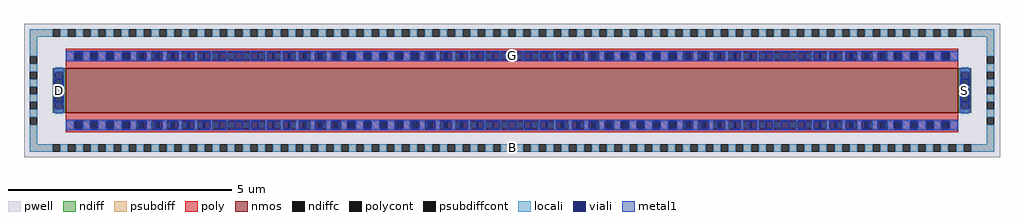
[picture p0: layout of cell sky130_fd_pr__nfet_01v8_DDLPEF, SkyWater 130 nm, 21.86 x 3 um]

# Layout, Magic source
magic
tech sky130A
magscale 1 2
<< pwell >>
rect -2186 -300 2186 300
<< nmos >>
rect -2000 -100 2000 100
<< ndiff >>
rect -2058 85 -2000 100
rect -2058 51 -2046 85
rect -2012 51 -2000 85
rect -2058 17 -2000 51
rect -2058 -17 -2046 17
rect -2012 -17 -2000 17
rect -2058 -51 -2000 -17
rect -2058 -85 -2046 -51
rect -2012 -85 -2000 -51
rect -2058 -100 -2000 -85
rect 2000 85 2058 100
rect 2000 51 2012 85
rect 2046 51 2058 85
rect 2000 17 2058 51
rect 2000 -17 2012 17
rect 2046 -17 2058 17
rect 2000 -51 2058 -17
rect 2000 -85 2012 -51
rect 2046 -85 2058 -51
rect 2000 -100 2058 -85
<< ndiffc >>
rect -2046 51 -2012 85
rect -2046 -17 -2012 17
rect -2046 -85 -2012 -51
rect 2012 51 2046 85
rect 2012 -17 2046 17
rect 2012 -85 2046 -51
<< psubdiff >>
rect -2160 240 -2057 274
rect -2023 240 -1989 274
rect -1955 240 -1921 274
rect -1887 240 -1853 274
rect -1819 240 -1785 274
rect -1751 240 -1717 274
rect -1683 240 -1649 274
rect -1615 240 -1581 274
rect -1547 240 -1513 274
rect -1479 240 -1445 274
rect -1411 240 -1377 274
rect -1343 240 -1309 274
rect -1275 240 -1241 274
rect -1207 240 -1173 274
rect -1139 240 -1105 274
rect -1071 240 -1037 274
rect -1003 240 -969 274
rect -935 240 -901 274
rect -867 240 -833 274
rect -799 240 -765 274
rect -731 240 -697 274
rect -663 240 -629 274
rect -595 240 -561 274
rect -527 240 -493 274
rect -459 240 -425 274
rect -391 240 -357 274
rect -323 240 -289 274
rect -255 240 -221 274
rect -187 240 -153 274
rect -119 240 -85 274
rect -51 240 -17 274
rect 17 240 51 274
rect 85 240 119 274
rect 153 240 187 274
rect 221 240 255 274
rect 289 240 323 274
rect 357 240 391 274
rect 425 240 459 274
rect 493 240 527 274
rect 561 240 595 274
rect 629 240 663 274
rect 697 240 731 274
rect 765 240 799 274
rect 833 240 867 274
rect 901 240 935 274
rect 969 240 1003 274
rect 1037 240 1071 274
rect 1105 240 1139 274
rect 1173 240 1207 274
rect 1241 240 1275 274
rect 1309 240 1343 274
rect 1377 240 1411 274
rect 1445 240 1479 274
rect 1513 240 1547 274
rect 1581 240 1615 274
rect 1649 240 1683 274
rect 1717 240 1751 274
rect 1785 240 1819 274
rect 1853 240 1887 274
rect 1921 240 1955 274
rect 1989 240 2023 274
rect 2057 240 2160 274
rect -2160 153 -2126 240
rect -2160 85 -2126 119
rect 2126 153 2160 240
rect -2160 17 -2126 51
rect -2160 -51 -2126 -17
rect -2160 -119 -2126 -85
rect 2126 85 2160 119
rect 2126 17 2160 51
rect 2126 -51 2160 -17
rect -2160 -240 -2126 -153
rect 2126 -119 2160 -85
rect 2126 -240 2160 -153
rect -2160 -274 -2057 -240
rect -2023 -274 -1989 -240
rect -1955 -274 -1921 -240
rect -1887 -274 -1853 -240
rect -1819 -274 -1785 -240
rect -1751 -274 -1717 -240
rect -1683 -274 -1649 -240
rect -1615 -274 -1581 -240
rect -1547 -274 -1513 -240
rect -1479 -274 -1445 -240
rect -1411 -274 -1377 -240
rect -1343 -274 -1309 -240
rect -1275 -274 -1241 -240
rect -1207 -274 -1173 -240
rect -1139 -274 -1105 -240
rect -1071 -274 -1037 -240
rect -1003 -274 -969 -240
rect -935 -274 -901 -240
rect -867 -274 -833 -240
rect -799 -274 -765 -240
rect -731 -274 -697 -240
rect -663 -274 -629 -240
rect -595 -274 -561 -240
rect -527 -274 -493 -240
rect -459 -274 -425 -240
rect -391 -274 -357 -240
rect -323 -274 -289 -240
rect -255 -274 -221 -240
rect -187 -274 -153 -240
rect -119 -274 -85 -240
rect -51 -274 -17 -240
rect 17 -274 51 -240
rect 85 -274 119 -240
rect 153 -274 187 -240
rect 221 -274 255 -240
rect 289 -274 323 -240
rect 357 -274 391 -240
rect 425 -274 459 -240
rect 493 -274 527 -240
rect 561 -274 595 -240
rect 629 -274 663 -240
rect 697 -274 731 -240
rect 765 -274 799 -240
rect 833 -274 867 -240
rect 901 -274 935 -240
rect 969 -274 1003 -240
rect 1037 -274 1071 -240
rect 1105 -274 1139 -240
rect 1173 -274 1207 -240
rect 1241 -274 1275 -240
rect 1309 -274 1343 -240
rect 1377 -274 1411 -240
rect 1445 -274 1479 -240
rect 1513 -274 1547 -240
rect 1581 -274 1615 -240
rect 1649 -274 1683 -240
rect 1717 -274 1751 -240
rect 1785 -274 1819 -240
rect 1853 -274 1887 -240
rect 1921 -274 1955 -240
rect 1989 -274 2023 -240
rect 2057 -274 2160 -240
<< psubdiffcont >>
rect -2057 240 -2023 274
rect -1989 240 -1955 274
rect -1921 240 -1887 274
rect -1853 240 -1819 274
rect -1785 240 -1751 274
rect -1717 240 -1683 274
rect -1649 240 -1615 274
rect -1581 240 -1547 274
rect -1513 240 -1479 274
rect -1445 240 -1411 274
rect -1377 240 -1343 274
rect -1309 240 -1275 274
rect -1241 240 -1207 274
rect -1173 240 -1139 274
rect -1105 240 -1071 274
rect -1037 240 -1003 274
rect -969 240 -935 274
rect -901 240 -867 274
rect -833 240 -799 274
rect -765 240 -731 274
rect -697 240 -663 274
rect -629 240 -595 274
rect -561 240 -527 274
rect -493 240 -459 274
rect -425 240 -391 274
rect -357 240 -323 274
rect -289 240 -255 274
rect -221 240 -187 274
rect -153 240 -119 274
rect -85 240 -51 274
rect -17 240 17 274
rect 51 240 85 274
rect 119 240 153 274
rect 187 240 221 274
rect 255 240 289 274
rect 323 240 357 274
rect 391 240 425 274
rect 459 240 493 274
rect 527 240 561 274
rect 595 240 629 274
rect 663 240 697 274
rect 731 240 765 274
rect 799 240 833 274
rect 867 240 901 274
rect 935 240 969 274
rect 1003 240 1037 274
rect 1071 240 1105 274
rect 1139 240 1173 274
rect 1207 240 1241 274
rect 1275 240 1309 274
rect 1343 240 1377 274
rect 1411 240 1445 274
rect 1479 240 1513 274
rect 1547 240 1581 274
rect 1615 240 1649 274
rect 1683 240 1717 274
rect 1751 240 1785 274
rect 1819 240 1853 274
rect 1887 240 1921 274
rect 1955 240 1989 274
rect 2023 240 2057 274
rect -2160 119 -2126 153
rect 2126 119 2160 153
rect -2160 51 -2126 85
rect -2160 -17 -2126 17
rect -2160 -85 -2126 -51
rect 2126 51 2160 85
rect 2126 -17 2160 17
rect 2126 -85 2160 -51
rect -2160 -153 -2126 -119
rect 2126 -153 2160 -119
rect -2057 -274 -2023 -240
rect -1989 -274 -1955 -240
rect -1921 -274 -1887 -240
rect -1853 -274 -1819 -240
rect -1785 -274 -1751 -240
rect -1717 -274 -1683 -240
rect -1649 -274 -1615 -240
rect -1581 -274 -1547 -240
rect -1513 -274 -1479 -240
rect -1445 -274 -1411 -240
rect -1377 -274 -1343 -240
rect -1309 -274 -1275 -240
rect -1241 -274 -1207 -240
rect -1173 -274 -1139 -240
rect -1105 -274 -1071 -240
rect -1037 -274 -1003 -240
rect -969 -274 -935 -240
rect -901 -274 -867 -240
rect -833 -274 -799 -240
rect -765 -274 -731 -240
rect -697 -274 -663 -240
rect -629 -274 -595 -240
rect -561 -274 -527 -240
rect -493 -274 -459 -240
rect -425 -274 -391 -240
rect -357 -274 -323 -240
rect -289 -274 -255 -240
rect -221 -274 -187 -240
rect -153 -274 -119 -240
rect -85 -274 -51 -240
rect -17 -274 17 -240
rect 51 -274 85 -240
rect 119 -274 153 -240
rect 187 -274 221 -240
rect 255 -274 289 -240
rect 323 -274 357 -240
rect 391 -274 425 -240
rect 459 -274 493 -240
rect 527 -274 561 -240
rect 595 -274 629 -240
rect 663 -274 697 -240
rect 731 -274 765 -240
rect 799 -274 833 -240
rect 867 -274 901 -240
rect 935 -274 969 -240
rect 1003 -274 1037 -240
rect 1071 -274 1105 -240
rect 1139 -274 1173 -240
rect 1207 -274 1241 -240
rect 1275 -274 1309 -240
rect 1343 -274 1377 -240
rect 1411 -274 1445 -240
rect 1479 -274 1513 -240
rect 1547 -274 1581 -240
rect 1615 -274 1649 -240
rect 1683 -274 1717 -240
rect 1751 -274 1785 -240
rect 1819 -274 1853 -240
rect 1887 -274 1921 -240
rect 1955 -274 1989 -240
rect 2023 -274 2057 -240
<< poly >>
rect -2000 172 2000 188
rect -2000 138 -1955 172
rect -1921 138 -1887 172
rect -1853 138 -1819 172
rect -1785 138 -1751 172
rect -1717 138 -1683 172
rect -1649 138 -1615 172
rect -1581 138 -1547 172
rect -1513 138 -1479 172
rect -1445 138 -1411 172
rect -1377 138 -1343 172
rect -1309 138 -1275 172
rect -1241 138 -1207 172
rect -1173 138 -1139 172
rect -1105 138 -1071 172
rect -1037 138 -1003 172
rect -969 138 -935 172
rect -901 138 -867 172
rect -833 138 -799 172
rect -765 138 -731 172
rect -697 138 -663 172
rect -629 138 -595 172
rect -561 138 -527 172
rect -493 138 -459 172
rect -425 138 -391 172
rect -357 138 -323 172
rect -289 138 -255 172
rect -221 138 -187 172
rect -153 138 -119 172
rect -85 138 -51 172
rect -17 138 17 172
rect 51 138 85 172
rect 119 138 153 172
rect 187 138 221 172
rect 255 138 289 172
rect 323 138 357 172
rect 391 138 425 172
rect 459 138 493 172
rect 527 138 561 172
rect 595 138 629 172
rect 663 138 697 172
rect 731 138 765 172
rect 799 138 833 172
rect 867 138 901 172
rect 935 138 969 172
rect 1003 138 1037 172
rect 1071 138 1105 172
rect 1139 138 1173 172
rect 1207 138 1241 172
rect 1275 138 1309 172
rect 1343 138 1377 172
rect 1411 138 1445 172
rect 1479 138 1513 172
rect 1547 138 1581 172
rect 1615 138 1649 172
rect 1683 138 1717 172
rect 1751 138 1785 172
rect 1819 138 1853 172
rect 1887 138 1921 172
rect 1955 138 2000 172
rect -2000 100 2000 138
rect -2000 -138 2000 -100
rect -2000 -172 -1955 -138
rect -1921 -172 -1887 -138
rect -1853 -172 -1819 -138
rect -1785 -172 -1751 -138
rect -1717 -172 -1683 -138
rect -1649 -172 -1615 -138
rect -1581 -172 -1547 -138
rect -1513 -172 -1479 -138
rect -1445 -172 -1411 -138
rect -1377 -172 -1343 -138
rect -1309 -172 -1275 -138
rect -1241 -172 -1207 -138
rect -1173 -172 -1139 -138
rect -1105 -172 -1071 -138
rect -1037 -172 -1003 -138
rect -969 -172 -935 -138
rect -901 -172 -867 -138
rect -833 -172 -799 -138
rect -765 -172 -731 -138
rect -697 -172 -663 -138
rect -629 -172 -595 -138
rect -561 -172 -527 -138
rect -493 -172 -459 -138
rect -425 -172 -391 -138
rect -357 -172 -323 -138
rect -289 -172 -255 -138
rect -221 -172 -187 -138
rect -153 -172 -119 -138
rect -85 -172 -51 -138
rect -17 -172 17 -138
rect 51 -172 85 -138
rect 119 -172 153 -138
rect 187 -172 221 -138
rect 255 -172 289 -138
rect 323 -172 357 -138
rect 391 -172 425 -138
rect 459 -172 493 -138
rect 527 -172 561 -138
rect 595 -172 629 -138
rect 663 -172 697 -138
rect 731 -172 765 -138
rect 799 -172 833 -138
rect 867 -172 901 -138
rect 935 -172 969 -138
rect 1003 -172 1037 -138
rect 1071 -172 1105 -138
rect 1139 -172 1173 -138
rect 1207 -172 1241 -138
rect 1275 -172 1309 -138
rect 1343 -172 1377 -138
rect 1411 -172 1445 -138
rect 1479 -172 1513 -138
rect 1547 -172 1581 -138
rect 1615 -172 1649 -138
rect 1683 -172 1717 -138
rect 1751 -172 1785 -138
rect 1819 -172 1853 -138
rect 1887 -172 1921 -138
rect 1955 -172 2000 -138
rect -2000 -188 2000 -172
<< polycont >>
rect -1955 138 -1921 172
rect -1887 138 -1853 172
rect -1819 138 -1785 172
rect -1751 138 -1717 172
rect -1683 138 -1649 172
rect -1615 138 -1581 172
rect -1547 138 -1513 172
rect -1479 138 -1445 172
rect -1411 138 -1377 172
rect -1343 138 -1309 172
rect -1275 138 -1241 172
rect -1207 138 -1173 172
rect -1139 138 -1105 172
rect -1071 138 -1037 172
rect -1003 138 -969 172
rect -935 138 -901 172
rect -867 138 -833 172
rect -799 138 -765 172
rect -731 138 -697 172
rect -663 138 -629 172
rect -595 138 -561 172
rect -527 138 -493 172
rect -459 138 -425 172
rect -391 138 -357 172
rect -323 138 -289 172
rect -255 138 -221 172
rect -187 138 -153 172
rect -119 138 -85 172
rect -51 138 -17 172
rect 17 138 51 172
rect 85 138 119 172
rect 153 138 187 172
rect 221 138 255 172
rect 289 138 323 172
rect 357 138 391 172
rect 425 138 459 172
rect 493 138 527 172
rect 561 138 595 172
rect 629 138 663 172
rect 697 138 731 172
rect 765 138 799 172
rect 833 138 867 172
rect 901 138 935 172
rect 969 138 1003 172
rect 1037 138 1071 172
rect 1105 138 1139 172
rect 1173 138 1207 172
rect 1241 138 1275 172
rect 1309 138 1343 172
rect 1377 138 1411 172
rect 1445 138 1479 172
rect 1513 138 1547 172
rect 1581 138 1615 172
rect 1649 138 1683 172
rect 1717 138 1751 172
rect 1785 138 1819 172
rect 1853 138 1887 172
rect 1921 138 1955 172
rect -1955 -172 -1921 -138
rect -1887 -172 -1853 -138
rect -1819 -172 -1785 -138
rect -1751 -172 -1717 -138
rect -1683 -172 -1649 -138
rect -1615 -172 -1581 -138
rect -1547 -172 -1513 -138
rect -1479 -172 -1445 -138
rect -1411 -172 -1377 -138
rect -1343 -172 -1309 -138
rect -1275 -172 -1241 -138
rect -1207 -172 -1173 -138
rect -1139 -172 -1105 -138
rect -1071 -172 -1037 -138
rect -1003 -172 -969 -138
rect -935 -172 -901 -138
rect -867 -172 -833 -138
rect -799 -172 -765 -138
rect -731 -172 -697 -138
rect -663 -172 -629 -138
rect -595 -172 -561 -138
rect -527 -172 -493 -138
rect -459 -172 -425 -138
rect -391 -172 -357 -138
rect -323 -172 -289 -138
rect -255 -172 -221 -138
rect -187 -172 -153 -138
rect -119 -172 -85 -138
rect -51 -172 -17 -138
rect 17 -172 51 -138
rect 85 -172 119 -138
rect 153 -172 187 -138
rect 221 -172 255 -138
rect 289 -172 323 -138
rect 357 -172 391 -138
rect 425 -172 459 -138
rect 493 -172 527 -138
rect 561 -172 595 -138
rect 629 -172 663 -138
rect 697 -172 731 -138
rect 765 -172 799 -138
rect 833 -172 867 -138
rect 901 -172 935 -138
rect 969 -172 1003 -138
rect 1037 -172 1071 -138
rect 1105 -172 1139 -138
rect 1173 -172 1207 -138
rect 1241 -172 1275 -138
rect 1309 -172 1343 -138
rect 1377 -172 1411 -138
rect 1445 -172 1479 -138
rect 1513 -172 1547 -138
rect 1581 -172 1615 -138
rect 1649 -172 1683 -138
rect 1717 -172 1751 -138
rect 1785 -172 1819 -138
rect 1853 -172 1887 -138
rect 1921 -172 1955 -138
<< locali >>
rect -2160 240 -2057 274
rect -2023 240 -1989 274
rect -1955 240 -1921 274
rect -1887 240 -1853 274
rect -1819 240 -1785 274
rect -1751 240 -1717 274
rect -1683 240 -1649 274
rect -1615 240 -1581 274
rect -1547 240 -1513 274
rect -1479 240 -1445 274
rect -1411 240 -1377 274
rect -1343 240 -1309 274
rect -1275 240 -1241 274
rect -1207 240 -1173 274
rect -1139 240 -1105 274
rect -1071 240 -1037 274
rect -1003 240 -969 274
rect -935 240 -901 274
rect -867 240 -833 274
rect -799 240 -765 274
rect -731 240 -697 274
rect -663 240 -629 274
rect -595 240 -561 274
rect -527 240 -493 274
rect -459 240 -425 274
rect -391 240 -357 274
rect -323 240 -289 274
rect -255 240 -221 274
rect -187 240 -153 274
rect -119 240 -85 274
rect -51 240 -17 274
rect 17 240 51 274
rect 85 240 119 274
rect 153 240 187 274
rect 221 240 255 274
rect 289 240 323 274
rect 357 240 391 274
rect 425 240 459 274
rect 493 240 527 274
rect 561 240 595 274
rect 629 240 663 274
rect 697 240 731 274
rect 765 240 799 274
rect 833 240 867 274
rect 901 240 935 274
rect 969 240 1003 274
rect 1037 240 1071 274
rect 1105 240 1139 274
rect 1173 240 1207 274
rect 1241 240 1275 274
rect 1309 240 1343 274
rect 1377 240 1411 274
rect 1445 240 1479 274
rect 1513 240 1547 274
rect 1581 240 1615 274
rect 1649 240 1683 274
rect 1717 240 1751 274
rect 1785 240 1819 274
rect 1853 240 1887 274
rect 1921 240 1955 274
rect 1989 240 2023 274
rect 2057 240 2160 274
rect -2160 153 -2126 240
rect -2000 138 -1961 172
rect -1921 138 -1889 172
rect -1853 138 -1819 172
rect -1783 138 -1751 172
rect -1711 138 -1683 172
rect -1639 138 -1615 172
rect -1567 138 -1547 172
rect -1495 138 -1479 172
rect -1423 138 -1411 172
rect -1351 138 -1343 172
rect -1279 138 -1275 172
rect -1173 138 -1169 172
rect -1105 138 -1097 172
rect -1037 138 -1025 172
rect -969 138 -953 172
rect -901 138 -881 172
rect -833 138 -809 172
rect -765 138 -737 172
rect -697 138 -665 172
rect -629 138 -595 172
rect -559 138 -527 172
rect -487 138 -459 172
rect -415 138 -391 172
rect -343 138 -323 172
rect -271 138 -255 172
rect -199 138 -187 172
rect -127 138 -119 172
rect -55 138 -51 172
rect 51 138 55 172
rect 119 138 127 172
rect 187 138 199 172
rect 255 138 271 172
rect 323 138 343 172
rect 391 138 415 172
rect 459 138 487 172
rect 527 138 559 172
rect 595 138 629 172
rect 665 138 697 172
rect 737 138 765 172
rect 809 138 833 172
rect 881 138 901 172
rect 953 138 969 172
rect 1025 138 1037 172
rect 1097 138 1105 172
rect 1169 138 1173 172
rect 1275 138 1279 172
rect 1343 138 1351 172
rect 1411 138 1423 172
rect 1479 138 1495 172
rect 1547 138 1567 172
rect 1615 138 1639 172
rect 1683 138 1711 172
rect 1751 138 1783 172
rect 1819 138 1853 172
rect 1889 138 1921 172
rect 1961 138 2000 172
rect 2126 153 2160 240
rect -2160 85 -2126 119
rect -2160 17 -2126 51
rect -2160 -51 -2126 -17
rect -2160 -119 -2126 -85
rect -2046 85 -2012 104
rect -2046 17 -2012 19
rect -2046 -19 -2012 -17
rect -2046 -104 -2012 -85
rect 2012 85 2046 104
rect 2012 17 2046 19
rect 2012 -19 2046 -17
rect 2012 -104 2046 -85
rect 2126 85 2160 119
rect 2126 17 2160 51
rect 2126 -51 2160 -17
rect 2126 -119 2160 -85
rect -2160 -240 -2126 -153
rect -2000 -172 -1961 -138
rect -1921 -172 -1889 -138
rect -1853 -172 -1819 -138
rect -1783 -172 -1751 -138
rect -1711 -172 -1683 -138
rect -1639 -172 -1615 -138
rect -1567 -172 -1547 -138
rect -1495 -172 -1479 -138
rect -1423 -172 -1411 -138
rect -1351 -172 -1343 -138
rect -1279 -172 -1275 -138
rect -1173 -172 -1169 -138
rect -1105 -172 -1097 -138
rect -1037 -172 -1025 -138
rect -969 -172 -953 -138
rect -901 -172 -881 -138
rect -833 -172 -809 -138
rect -765 -172 -737 -138
rect -697 -172 -665 -138
rect -629 -172 -595 -138
rect -559 -172 -527 -138
rect -487 -172 -459 -138
rect -415 -172 -391 -138
rect -343 -172 -323 -138
rect -271 -172 -255 -138
rect -199 -172 -187 -138
rect -127 -172 -119 -138
rect -55 -172 -51 -138
rect 51 -172 55 -138
rect 119 -172 127 -138
rect 187 -172 199 -138
rect 255 -172 271 -138
rect 323 -172 343 -138
rect 391 -172 415 -138
rect 459 -172 487 -138
rect 527 -172 559 -138
rect 595 -172 629 -138
rect 665 -172 697 -138
rect 737 -172 765 -138
rect 809 -172 833 -138
rect 881 -172 901 -138
rect 953 -172 969 -138
rect 1025 -172 1037 -138
rect 1097 -172 1105 -138
rect 1169 -172 1173 -138
rect 1275 -172 1279 -138
rect 1343 -172 1351 -138
rect 1411 -172 1423 -138
rect 1479 -172 1495 -138
rect 1547 -172 1567 -138
rect 1615 -172 1639 -138
rect 1683 -172 1711 -138
rect 1751 -172 1783 -138
rect 1819 -172 1853 -138
rect 1889 -172 1921 -138
rect 1961 -172 2000 -138
rect 2126 -240 2160 -153
rect -2160 -274 -2057 -240
rect -2023 -274 -1989 -240
rect -1955 -274 -1921 -240
rect -1887 -274 -1853 -240
rect -1819 -274 -1785 -240
rect -1751 -274 -1717 -240
rect -1683 -274 -1649 -240
rect -1615 -274 -1581 -240
rect -1547 -274 -1513 -240
rect -1479 -274 -1445 -240
rect -1411 -274 -1377 -240
rect -1343 -274 -1309 -240
rect -1275 -274 -1241 -240
rect -1207 -274 -1173 -240
rect -1139 -274 -1105 -240
rect -1071 -274 -1037 -240
rect -1003 -274 -969 -240
rect -935 -274 -901 -240
rect -867 -274 -833 -240
rect -799 -274 -765 -240
rect -731 -274 -697 -240
rect -663 -274 -629 -240
rect -595 -274 -561 -240
rect -527 -274 -493 -240
rect -459 -274 -425 -240
rect -391 -274 -357 -240
rect -323 -274 -289 -240
rect -255 -274 -221 -240
rect -187 -274 -153 -240
rect -119 -274 -85 -240
rect -51 -274 -17 -240
rect 17 -274 51 -240
rect 85 -274 119 -240
rect 153 -274 187 -240
rect 221 -274 255 -240
rect 289 -274 323 -240
rect 357 -274 391 -240
rect 425 -274 459 -240
rect 493 -274 527 -240
rect 561 -274 595 -240
rect 629 -274 663 -240
rect 697 -274 731 -240
rect 765 -274 799 -240
rect 833 -274 867 -240
rect 901 -274 935 -240
rect 969 -274 1003 -240
rect 1037 -274 1071 -240
rect 1105 -274 1139 -240
rect 1173 -274 1207 -240
rect 1241 -274 1275 -240
rect 1309 -274 1343 -240
rect 1377 -274 1411 -240
rect 1445 -274 1479 -240
rect 1513 -274 1547 -240
rect 1581 -274 1615 -240
rect 1649 -274 1683 -240
rect 1717 -274 1751 -240
rect 1785 -274 1819 -240
rect 1853 -274 1887 -240
rect 1921 -274 1955 -240
rect 1989 -274 2023 -240
rect 2057 -274 2160 -240
<< viali >>
rect -1961 138 -1955 172
rect -1955 138 -1927 172
rect -1889 138 -1887 172
rect -1887 138 -1855 172
rect -1817 138 -1785 172
rect -1785 138 -1783 172
rect -1745 138 -1717 172
rect -1717 138 -1711 172
rect -1673 138 -1649 172
rect -1649 138 -1639 172
rect -1601 138 -1581 172
rect -1581 138 -1567 172
rect -1529 138 -1513 172
rect -1513 138 -1495 172
rect -1457 138 -1445 172
rect -1445 138 -1423 172
rect -1385 138 -1377 172
rect -1377 138 -1351 172
rect -1313 138 -1309 172
rect -1309 138 -1279 172
rect -1241 138 -1207 172
rect -1169 138 -1139 172
rect -1139 138 -1135 172
rect -1097 138 -1071 172
rect -1071 138 -1063 172
rect -1025 138 -1003 172
rect -1003 138 -991 172
rect -953 138 -935 172
rect -935 138 -919 172
rect -881 138 -867 172
rect -867 138 -847 172
rect -809 138 -799 172
rect -799 138 -775 172
rect -737 138 -731 172
rect -731 138 -703 172
rect -665 138 -663 172
rect -663 138 -631 172
rect -593 138 -561 172
rect -561 138 -559 172
rect -521 138 -493 172
rect -493 138 -487 172
rect -449 138 -425 172
rect -425 138 -415 172
rect -377 138 -357 172
rect -357 138 -343 172
rect -305 138 -289 172
rect -289 138 -271 172
rect -233 138 -221 172
rect -221 138 -199 172
rect -161 138 -153 172
rect -153 138 -127 172
rect -89 138 -85 172
rect -85 138 -55 172
rect -17 138 17 172
rect 55 138 85 172
rect 85 138 89 172
rect 127 138 153 172
rect 153 138 161 172
rect 199 138 221 172
rect 221 138 233 172
rect 271 138 289 172
rect 289 138 305 172
rect 343 138 357 172
rect 357 138 377 172
rect 415 138 425 172
rect 425 138 449 172
rect 487 138 493 172
rect 493 138 521 172
rect 559 138 561 172
rect 561 138 593 172
rect 631 138 663 172
rect 663 138 665 172
rect 703 138 731 172
rect 731 138 737 172
rect 775 138 799 172
rect 799 138 809 172
rect 847 138 867 172
rect 867 138 881 172
rect 919 138 935 172
rect 935 138 953 172
rect 991 138 1003 172
rect 1003 138 1025 172
rect 1063 138 1071 172
rect 1071 138 1097 172
rect 1135 138 1139 172
rect 1139 138 1169 172
rect 1207 138 1241 172
rect 1279 138 1309 172
rect 1309 138 1313 172
rect 1351 138 1377 172
rect 1377 138 1385 172
rect 1423 138 1445 172
rect 1445 138 1457 172
rect 1495 138 1513 172
rect 1513 138 1529 172
rect 1567 138 1581 172
rect 1581 138 1601 172
rect 1639 138 1649 172
rect 1649 138 1673 172
rect 1711 138 1717 172
rect 1717 138 1745 172
rect 1783 138 1785 172
rect 1785 138 1817 172
rect 1855 138 1887 172
rect 1887 138 1889 172
rect 1927 138 1955 172
rect 1955 138 1961 172
rect -2046 51 -2012 53
rect -2046 19 -2012 51
rect -2046 -51 -2012 -19
rect -2046 -53 -2012 -51
rect 2012 51 2046 53
rect 2012 19 2046 51
rect 2012 -51 2046 -19
rect 2012 -53 2046 -51
rect -1961 -172 -1955 -138
rect -1955 -172 -1927 -138
rect -1889 -172 -1887 -138
rect -1887 -172 -1855 -138
rect -1817 -172 -1785 -138
rect -1785 -172 -1783 -138
rect -1745 -172 -1717 -138
rect -1717 -172 -1711 -138
rect -1673 -172 -1649 -138
rect -1649 -172 -1639 -138
rect -1601 -172 -1581 -138
rect -1581 -172 -1567 -138
rect -1529 -172 -1513 -138
rect -1513 -172 -1495 -138
rect -1457 -172 -1445 -138
rect -1445 -172 -1423 -138
rect -1385 -172 -1377 -138
rect -1377 -172 -1351 -138
rect -1313 -172 -1309 -138
rect -1309 -172 -1279 -138
rect -1241 -172 -1207 -138
rect -1169 -172 -1139 -138
rect -1139 -172 -1135 -138
rect -1097 -172 -1071 -138
rect -1071 -172 -1063 -138
rect -1025 -172 -1003 -138
rect -1003 -172 -991 -138
rect -953 -172 -935 -138
rect -935 -172 -919 -138
rect -881 -172 -867 -138
rect -867 -172 -847 -138
rect -809 -172 -799 -138
rect -799 -172 -775 -138
rect -737 -172 -731 -138
rect -731 -172 -703 -138
rect -665 -172 -663 -138
rect -663 -172 -631 -138
rect -593 -172 -561 -138
rect -561 -172 -559 -138
rect -521 -172 -493 -138
rect -493 -172 -487 -138
rect -449 -172 -425 -138
rect -425 -172 -415 -138
rect -377 -172 -357 -138
rect -357 -172 -343 -138
rect -305 -172 -289 -138
rect -289 -172 -271 -138
rect -233 -172 -221 -138
rect -221 -172 -199 -138
rect -161 -172 -153 -138
rect -153 -172 -127 -138
rect -89 -172 -85 -138
rect -85 -172 -55 -138
rect -17 -172 17 -138
rect 55 -172 85 -138
rect 85 -172 89 -138
rect 127 -172 153 -138
rect 153 -172 161 -138
rect 199 -172 221 -138
rect 221 -172 233 -138
rect 271 -172 289 -138
rect 289 -172 305 -138
rect 343 -172 357 -138
rect 357 -172 377 -138
rect 415 -172 425 -138
rect 425 -172 449 -138
rect 487 -172 493 -138
rect 493 -172 521 -138
rect 559 -172 561 -138
rect 561 -172 593 -138
rect 631 -172 663 -138
rect 663 -172 665 -138
rect 703 -172 731 -138
rect 731 -172 737 -138
rect 775 -172 799 -138
rect 799 -172 809 -138
rect 847 -172 867 -138
rect 867 -172 881 -138
rect 919 -172 935 -138
rect 935 -172 953 -138
rect 991 -172 1003 -138
rect 1003 -172 1025 -138
rect 1063 -172 1071 -138
rect 1071 -172 1097 -138
rect 1135 -172 1139 -138
rect 1139 -172 1169 -138
rect 1207 -172 1241 -138
rect 1279 -172 1309 -138
rect 1309 -172 1313 -138
rect 1351 -172 1377 -138
rect 1377 -172 1385 -138
rect 1423 -172 1445 -138
rect 1445 -172 1457 -138
rect 1495 -172 1513 -138
rect 1513 -172 1529 -138
rect 1567 -172 1581 -138
rect 1581 -172 1601 -138
rect 1639 -172 1649 -138
rect 1649 -172 1673 -138
rect 1711 -172 1717 -138
rect 1717 -172 1745 -138
rect 1783 -172 1785 -138
rect 1785 -172 1817 -138
rect 1855 -172 1887 -138
rect 1887 -172 1889 -138
rect 1927 -172 1955 -138
rect 1955 -172 1961 -138
<< metal1 >>
rect -1996 172 1996 178
rect -1996 138 -1961 172
rect -1927 138 -1889 172
rect -1855 138 -1817 172
rect -1783 138 -1745 172
rect -1711 138 -1673 172
rect -1639 138 -1601 172
rect -1567 138 -1529 172
rect -1495 138 -1457 172
rect -1423 138 -1385 172
rect -1351 138 -1313 172
rect -1279 138 -1241 172
rect -1207 138 -1169 172
rect -1135 138 -1097 172
rect -1063 138 -1025 172
rect -991 138 -953 172
rect -919 138 -881 172
rect -847 138 -809 172
rect -775 138 -737 172
rect -703 138 -665 172
rect -631 138 -593 172
rect -559 138 -521 172
rect -487 138 -449 172
rect -415 138 -377 172
rect -343 138 -305 172
rect -271 138 -233 172
rect -199 138 -161 172
rect -127 138 -89 172
rect -55 138 -17 172
rect 17 138 55 172
rect 89 138 127 172
rect 161 138 199 172
rect 233 138 271 172
rect 305 138 343 172
rect 377 138 415 172
rect 449 138 487 172
rect 521 138 559 172
rect 593 138 631 172
rect 665 138 703 172
rect 737 138 775 172
rect 809 138 847 172
rect 881 138 919 172
rect 953 138 991 172
rect 1025 138 1063 172
rect 1097 138 1135 172
rect 1169 138 1207 172
rect 1241 138 1279 172
rect 1313 138 1351 172
rect 1385 138 1423 172
rect 1457 138 1495 172
rect 1529 138 1567 172
rect 1601 138 1639 172
rect 1673 138 1711 172
rect 1745 138 1783 172
rect 1817 138 1855 172
rect 1889 138 1927 172
rect 1961 138 1996 172
rect -1996 132 1996 138
rect -2052 53 -2006 100
rect -2052 19 -2046 53
rect -2012 19 -2006 53
rect -2052 -19 -2006 19
rect -2052 -53 -2046 -19
rect -2012 -53 -2006 -19
rect -2052 -100 -2006 -53
rect 2006 53 2052 100
rect 2006 19 2012 53
rect 2046 19 2052 53
rect 2006 -19 2052 19
rect 2006 -53 2012 -19
rect 2046 -53 2052 -19
rect 2006 -100 2052 -53
rect -1996 -138 1996 -132
rect -1996 -172 -1961 -138
rect -1927 -172 -1889 -138
rect -1855 -172 -1817 -138
rect -1783 -172 -1745 -138
rect -1711 -172 -1673 -138
rect -1639 -172 -1601 -138
rect -1567 -172 -1529 -138
rect -1495 -172 -1457 -138
rect -1423 -172 -1385 -138
rect -1351 -172 -1313 -138
rect -1279 -172 -1241 -138
rect -1207 -172 -1169 -138
rect -1135 -172 -1097 -138
rect -1063 -172 -1025 -138
rect -991 -172 -953 -138
rect -919 -172 -881 -138
rect -847 -172 -809 -138
rect -775 -172 -737 -138
rect -703 -172 -665 -138
rect -631 -172 -593 -138
rect -559 -172 -521 -138
rect -487 -172 -449 -138
rect -415 -172 -377 -138
rect -343 -172 -305 -138
rect -271 -172 -233 -138
rect -199 -172 -161 -138
rect -127 -172 -89 -138
rect -55 -172 -17 -138
rect 17 -172 55 -138
rect 89 -172 127 -138
rect 161 -172 199 -138
rect 233 -172 271 -138
rect 305 -172 343 -138
rect 377 -172 415 -138
rect 449 -172 487 -138
rect 521 -172 559 -138
rect 593 -172 631 -138
rect 665 -172 703 -138
rect 737 -172 775 -138
rect 809 -172 847 -138
rect 881 -172 919 -138
rect 953 -172 991 -138
rect 1025 -172 1063 -138
rect 1097 -172 1135 -138
rect 1169 -172 1207 -138
rect 1241 -172 1279 -138
rect 1313 -172 1351 -138
rect 1385 -172 1423 -138
rect 1457 -172 1495 -138
rect 1529 -172 1567 -138
rect 1601 -172 1639 -138
rect 1673 -172 1711 -138
rect 1745 -172 1783 -138
rect 1817 -172 1855 -138
rect 1889 -172 1927 -138
rect 1961 -172 1996 -138
rect -1996 -178 1996 -172
<< labels >>
rlabel locali s 0 -257 0 -257 4 B
rlabel locali s -2029 0 -2029 0 4 D
rlabel locali s 2029 0 2029 0 4 S
rlabel locali s 0 155 0 155 4 G
<< properties >>
string FIXED_BBOX -2143 -257 2143 257
<< end >>
